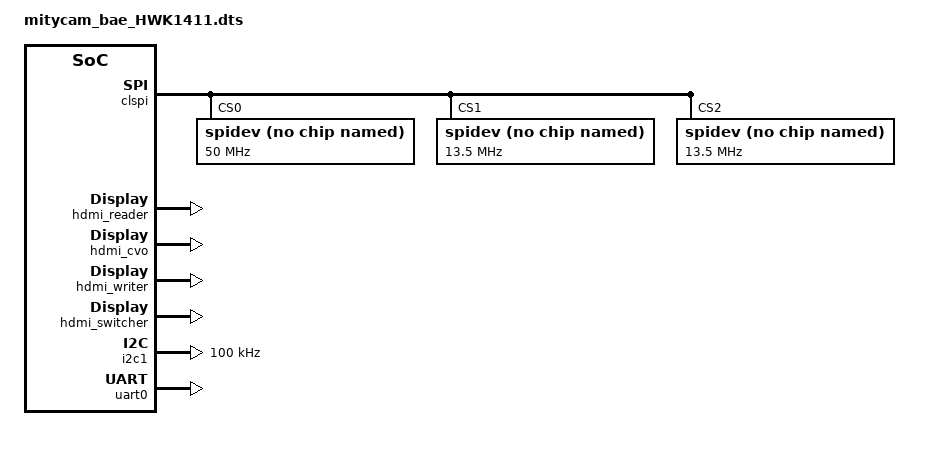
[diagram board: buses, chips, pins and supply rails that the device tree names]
/*
 * Copyright (C) 2014-2015 Altera Corporation <www.altera.com>
 *
 * This program is free software; you can redistribute it and/or modify
 * it under the terms of the GNU General Public License as published by
 * the Free Software Foundation; either version 2 of the License, or
 * (at your option) any later version.
 *
 * This program is distributed in the hope that it will be useful,
 * but WITHOUT ANY WARRANTY; without even the implied warranty of
 * MERCHANTABILITY or FITNESS FOR A PARTICULAR PURPOSE.  See the
 * GNU General Public License for more details.
 *
 * You should have received a copy of the GNU General Public License
 * along with this program.  If not, see <http://www.gnu.org/licenses/>.
 */

/dts-v1/;
#include "mitysom_a10s_dsc.dtsi"

/ {
	aliases {
		spi0 = &spi0;
		serial1 = &uart0;
	};

	soc {
		hps_lw_bus: bus@0ff200000 {
			compatible = "simple-bus";
			reg = <0xFF200000 0x00200000>;
			#address-cells = <1>;
			#size-cells = <1>;
			ranges = <0x0 0xFF200000 0x00200000>;
			status = "okay";

			sysid_qsys: sysid@0000 {
				compatible = "altr,sysid-1.0";
				reg = <0x000000 0x08>;
			};

			/* mitycam TPG                     @01000, managed in userspace */
			/* mitycam bl_est                  @02000, managed in userspace */
			/* mitycam stream_to_sdram_raster  @03000, managed in userspace */

			clspi: spi@04000 {
				compatible = "cl,spi-1.0";
				#address-cells = <1>;
				#size-cells = <0>;
				reg = <0x00004000 0x0100>;
				interrupts = <0 26 4>;
				master-ref-clk = <100000000>;
				num-chipselect = <3>;
				bus-num = <0>;

				/* sensor */
				spidev@1 {
					compatible = "cl,spidev";
					spi-max-frequency = <50000000>;
					reg = <0>;
				};
				/* lattice */
				spidev@2 {
					compatible = "cl,spidev";
					spi-max-frequency = <13500000>;
					reg = <1>;
				};
				/* dummy (for lattice programming) */
				spidev@3 {
					compatible = "cl,spidev";
					spi-max-frequency = <13500000>;
					reg = <2>;
				};
			};

			cam_gpio: gpio@05000 {
				compatible = "cl,camio-1.0";
				reg = <0x00005000 0x20>;
				interrupts = <0 24 4>;
				interrupt-controller;
				#interrupt-cells = <2>;
				gpio-controller;
				#gpio-cells=<2>;
				gpio-line-names = "CAMIO1", "CAMIO2", "CAMIO3", "CAMIO4";
			};

			pio_outs: gpio@6000 {
				compatible = "altr,pio-1.0";
				reg = <0x00006000 0x10>;
				altr,ngpio = <32>;
				/* interrupts = <0 23 4>; */
				/* altr,interrupt-type = <IRQ_TYPE_EDGE_RISING>; */
				#gpio-cells = <2>;
				gpio-controller;
				/* #interrupt-cells = <1>; */
				/* interrupt-controller; */
				gpio-line-names = "SENS_CLK_EN", "MD6000_CLK_EN", "SPI_ENABLE", "XCVR_RESET",
						  "HDMI_VSF_DISABLE", "HDMI_AVIF_DISABLE", "DDC_ENABLE_N", "SCC_SHUTDOWN_L",
						  "MD6000_BUFF_EN", "MD6000_CRESET", "MD6000_PWR_EN", "VDDIO_1V8_EN",
						  "DVDD_1V2_EN", "AVDD_5V0_EN", "ALL_ANALOG_EN", "SCAN_MODE",
						  "PLL_BYPASS", "INIT_ENA", "RESET_B", "",
						  "", "", "", "",
						  "", "", "", "",
						  "", "", "", "";
			};

			pio_ins: gpio@7000 {
				compatible = "altr,pio-1.0";
				reg = <0x00007000 0x10>;
				altr,ngpio = <32>;
				interrupts = <0 23 4>;
				altr,interrupt-type = <IRQ_TYPE_EDGE_RISING>;
				#gpio-cells = <2>;
				gpio-controller;
				#interrupt-cells = <1>;
				interrupt-controller;
				gpio-line-names = "", "", "", "",
						  "FPLL_LOCK", "HDMI_IOPLL_LOCK", "HDMI_TX_READY", "HDMI_XCVR_CAL_BUSY",
						  "HDMI_TX1_BUSY", "HDMI_TX2_BUSY", "HDMI_TX3_BUSY", "HDMI_TX4_BUSY",
						  "HDMI_TX1_READY", "HDMI_TX2_READY", "HDMI_TX3_READY", "HDMI_TX4_READY",
						  "HDMI_TX1_AN_RST", "HDMI_TX2_AN_RST", "HDMI_TX3_AN_RST", "HDMI_TX4_AN_RST",
						  "HDMI_TX1_DIG_RST", "HDMI_TX2_DIG_RST", "HDMI_TX3_DIG_RST", "HDMI_TX4_DIG_RST",
						  "HDMI_PLL_PD", "HDMI_PLL_RST", "IOPLL_LOCK", "",
						  "OPTO_ISO_0", "OPTO_ISO_1", "OPTO_ISO_2", "ALWAYS_ONE";
			};

			/* mitycam U3V SDGMA DESC  @08000, managed in userspace */
			/* mitycam U3V SDGMA CSR   @09000, managed in userspace */
			/* mitycam U3V_FX3         @0A000, managed in userspace */

			pio_fx3: gpio@0B000 {
				compatible = "altr,pio-1.0";
				reg = <0x0000B000 0x10>;
				altr,ngpio = <3>;
				interrupts = <0 25 4>;
				altr,interrupt-type = <IRQ_TYPE_EDGE_RISING>;
				#gpio-cells = <2>;
				gpio-controller;
				#interrupt-cells = <1>;
				interrupt-controller;
				gpio-line-names = "SENS_PRESENT", "FX3_PRESENT", "FX3_IO", "", "", "", "", "";
			};

			/* mitycam conv_5x5               @00C000, managed in userspace */
			/* mitycam lvds_to_csi2           @00D000, managed in userspace */
			/* mitycam csi2_dphy_to_mitycam   @00E000, managed in userspace */

			pio_ins2: gpio@f000 {
				compatible = "altr,pio-1.0";
				reg = <0x0000f000 0x10>;
				altr,ngpio = <32>;
				interrupts = <0 31 4>;
				altr,interrupt-type = <IRQ_TYPE_EDGE_RISING>;
				#gpio-cells = <2>;
				gpio-controller;
				#interrupt-cells = <1>;
				interrupt-controller;
				gpio-line-names = "BOARD_ID0", "BOARD_ID1", "BOARD_ID2", "BOARD_ID3",
						  "COLOR_SENSOR_N", "MD6000_DONE", "MODULE_N", "SCC_INTERRUPT_L",
						  "SENS_PLL_LOCK", "", "", "",
						  "", "", "", "",
						  "", "", "", "",
						  "", "", "", "",
						  "", "", "", "",
						  "", "", "", "";
			};

			/* mitycam row_adjust             @011000, managed in userspace */
			/* mitycam bayer_demosaic         @012000, managed in userspace */
			/* VIP color_space_converter      @013000, managed in userspace */
			/* mitycam blc_gain               @014000, managed in userspace */
			/* mitycam demux RAW              @015000, managed in userspace */
			/* mitycam demux bayer            @016000, managed in userspace */
			/* mitycam PLL Reconfig           @030000, managed in userspace */
			/* mitycam fPLL                   @031000, managed in userspace */
			/* VIP read buffer                @039000, managed in userspace */
			/* VIP scaler                     @03A000, managed in userspace */
			/* VIP mixer                      @03B000, managed in userspace */
			/* VIP CVO                        @03C000, managed in userspace */
			/* VIP gamma                      @300000, managed in userspace */
			/* VIP TPG                        @380000, managed in userspace */
			/* VIP write buffer               @381000, managed in userspace */
			/* VIP switcher                   @383000, managed in userspace */
		};

		/* Order of uio is important. Don't reorder, will change /dev/uio# */
		/* Stream to SDRAM Raster */
		streamer0: streamer@80000000 {
			compatible = "uio,irq";
			interrupts = <0 27 4>;
		};

		/* U3V MSGDMA interrupt */
		u3v_sgdma: sgdma@ff209000 {
			compatible = "uio,irq";
			interrupts = <0 19 4>;
		};

		/* Guaissian 5x5 interrupts */
		conv_5x5: canon_5x5@ff20c000 {
			compatible = "uio,irq";
			interrupts = <0 30 4>;
		};

		/* bayer demosaic interrupts */
		debayer: debayer@ff212000 {
			compatible = "uio,irq";
			interrupts = <0 28 4>;
		};

		/* hdmi reader interrupts */
		hdmi_reader: hdmi_reader@ff239000 {
			compatible = "uio,irq";
			interrupts = <0 22 4>;
		};

		/* hdmi CVO interrupts */
		hdmi_cvo: hdmi_cvo@ff23C000 {
			compatible = "uio,irq";
			interrupts = <0 20 4>;
		};

		/* hdmi writer interrupts */
		hdmi_writer: hdmi_writer@ff381000 {
			compatible = "uio,irq";
			interrupts = <0 21 4>;
		};

		/* hdmi switcher interrupts */
		hdmi_switcher: hdmi_switcher@ff383000 {
			compatible = "uio,irq";
			interrupts = <0 29 4>;
		};
	};
};

&i2c1 {
	status = "okay";
	clock-frequency = <100000>;
        i2c-sda-hold-time-ns = <500>;


	/* USB IO Tri-Color LED */
	/* disabled - used directly by ARM software */
	/* 
	led@62 {
		compatible = "nxp,pca9553";
		reg = <0x62>;
	}; */

	/* Sensor board */

};

/* FX3 comms interface */
&uart0 {
	status = "okay";
};

